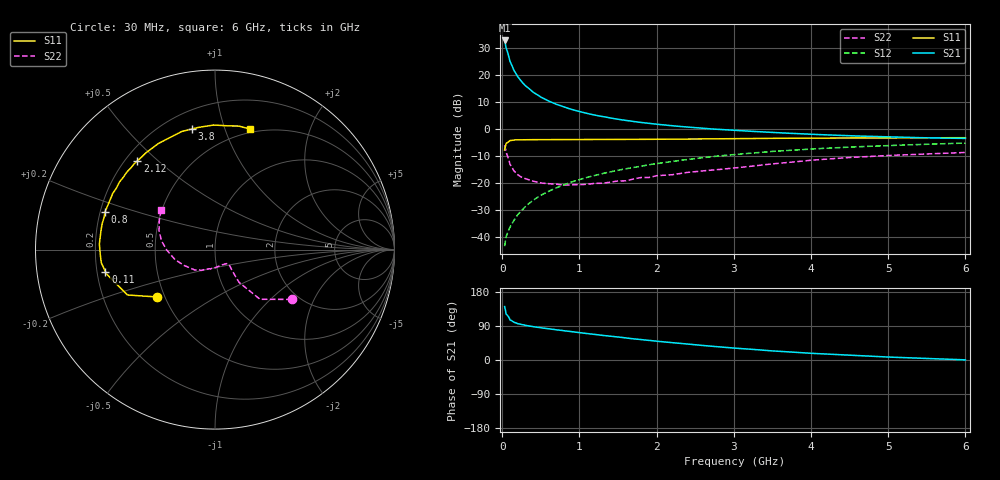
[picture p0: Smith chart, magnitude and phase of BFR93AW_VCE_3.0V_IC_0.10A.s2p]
! Infineon Technologies  Discrete & RF Semiconductors
! BFR93AW
! VCE =  3.0 V,  IC = 0.10 A
! Common Emitter S-Parameters:  Nov 2015
# GHz  S  MA  R  50
!  f  S11  S21  S12  S22
! GHz  MAG  ANG  MAG  ANG  MAG  ANG  MAG  ANG
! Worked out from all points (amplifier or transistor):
!   206 points, 30 MHz to 6 GHz, reference 50 ohm
!   highest |S21| = 32.9 dB at 30 MHz (marker M1)
!   |S21| within 3 dB of that: start of sweep to 52.98 MHz
!   unconditionally stable (mu >= 1): 88.01 MHz to end of sweep
!   at 200 MHz: K = 1.21, MAG = 22.8 dB, |S12| = -31.6 dB
!   at 1.56 GHz: K = 1.19, MAG = 6.5 dB, |S12| = -14.8 dB
!   at 6 GHz: K = 1.02, MAG = 0.1 dB, |S12| = -5.1 dB
!   S11 on the Smith chart (normalised r, x): 30 MHz: 0.46, -0.29; 110 MHz: 0.23, -0.09; 800 MHz: 0.22, +0.16; 2.12 GHz: 0.25, +0.43; 3.8 GHz: 0.31, +0.78; 6 GHz: 0.46, +1.22
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0.03  0.4156 -140.6  44.1 140.8  0.0069 62.8  0.5094 -33.0
0.05  0.5492 -152.6  32.1 121.2  0.0104 59.4  0.3739 -47.8
0.1  0.6197 -167.4  18.04 105.8  0.0155 63.9  0.2263 -53.7
0.11  0.6227 -168.6  16.89 104.9  0.0165 65.4  0.2152 -53.4
0.15  0.6376 -173.4  12.36 99.7  0.0205 69.9  0.1711 -52.0
0.2  0.6398 -177.5  9.431 95.9  0.0264 71.9  0.1452 -50.3
0.24  0.6415 -180.0  7.964 94.0  0.0304 73.5  0.1326 -48.9
0.26  0.6426 179.0  7.357 93.0  0.0326 74.1  0.128 -48.4
0.3  0.6449 177.2  6.392 91.3  0.0373 74.9  0.122 -47.8
0.4  0.644 173.1  4.858 87.9  0.0487 76.4  0.1099 -47.2
0.5  0.6442 169.7  3.95 85.0  0.0603 76.7  0.1017 -50.1
0.6  0.6451 166.9  3.34 82.4  0.0713 76.5  0.0985 -53.5
0.8  0.6478 161.0  2.582 77.2  0.0941 75.8  0.0931 -65.0
1.04  0.6461 154.9  2.065 71.3  0.1225 74.0  0.0953 -78.1
1.4  0.6488 146.6  1.621 62.7  0.1636 70.9  0.1058 -99.3
2.02  0.6564 133.2  1.234 49.2  0.2345 64.2  0.1394 -124.1
2.12  0.6562 131.2  1.196 47.3  0.2461 63.1  0.1421 -127.2
3.1  0.6723 112.5  0.941 30.1  0.3507 51.3  0.1988 -155.4
3.8  0.6842 100.8  0.836 20.3  0.4156 42.6  0.2514 -174.5
4.1  0.6876 96.3  0.8 16.7  0.4403 39.0  0.2744 178.5
5.1  0.6937 83.5  0.72 7.1  0.507 27.5  0.3324 159.6
6  0.6995 74.0  0.68 0.4  0.5581 18.3  0.3736 143.5
